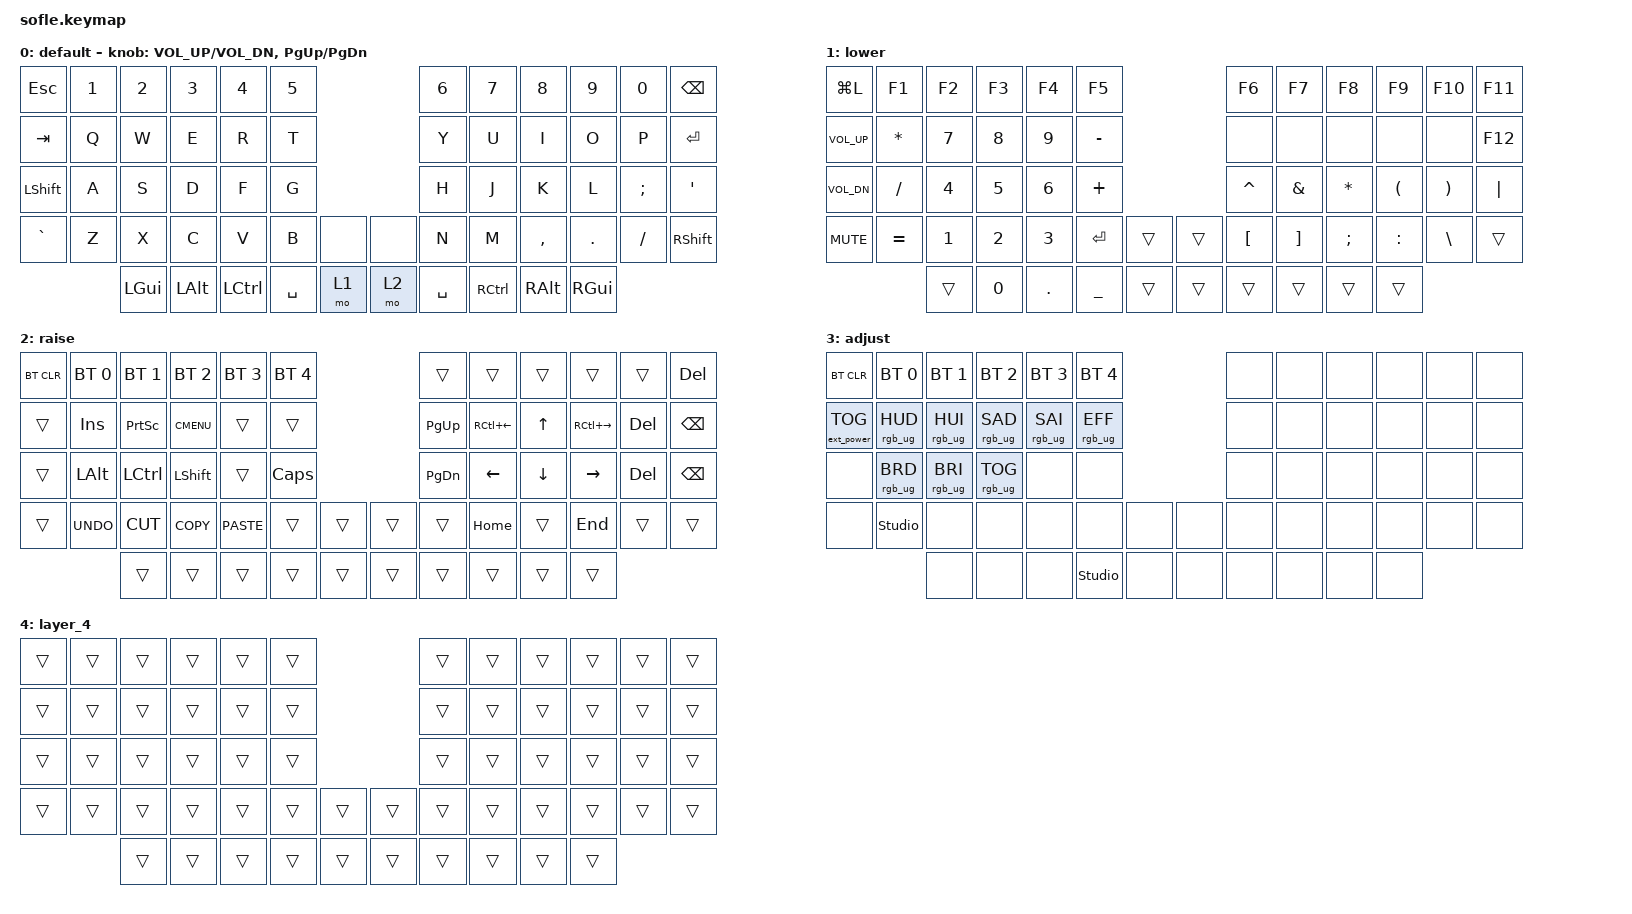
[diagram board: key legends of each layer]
/*
 * Copyright (c) 2020 The ZMK Contributors
 *
 * SPDX-License-Identifier: MIT
 */

#include <behaviors.dtsi>
#include <dt-bindings/zmk/bt.h>
#include <dt-bindings/zmk/ext_power.h>
#include <dt-bindings/zmk/keys.h>
#include <dt-bindings/zmk/rgb.h>

#define BASE 0
#define LOWER 1
#define RAISE 2
#define ADJUST 3

/ {
    // Activate ADJUST layer by pressing raise and lower

    conditional_layers {
        compatible = "zmk,conditional-layers";

        adjust_layer {
            if-layers = <LOWER RAISE>;
            then-layer = <ADJUST>;
        };
    };

    keymap {
        compatible = "zmk,keymap";

        default_layer {
            display-name = "default";

            // ------------------------------------------------------------------------------------------------------------
            // |   `   |  1  |  2  |  3   |  4   |  5   |                   |  6   |  7    |  8    |  9   |   0   |       |
            // |  ESC  |  Q  |  W  |  E   |  R   |  T   |                   |  Y   |  U    |  I    |  O   |   P   | BKSPC |
            // |  TAB  |  A  |  S  |  D   |  F   |  G   |                   |  H   |  J    |  K    |  L   |   ;   |   '   |
            // | SHIFT |  Z  |  X  |  C   |  V   |  B   |  MUTE  |  |       |  N   |  M    |  ,    |  .   |   /   | SHIFT |
            //               | GUI | ALT  | CTRL | LOWER|  ENTER |  | SPACE | RAISE| CTRL  | ALT   | GUI  |

            bindings = <
&kp ESC         &kp N1  &kp N2    &kp N3    &kp N4     &kp N5                     &kp N6     &kp N7     &kp N8     &kp N9    &kp N0    &kp BACKSPACE
&kp TAB         &kp Q   &kp W     &kp E     &kp R      &kp T                      &kp Y      &kp U      &kp I      &kp O     &kp P     &kp ENTER
&kp LEFT_SHIFT  &kp A   &kp S     &kp D     &kp F      &kp G                      &kp H      &kp J      &kp K      &kp L     &kp SEMI  &kp SQT
&kp GRAVE       &kp Z   &kp X     &kp C     &kp V      &kp B      &none    &none  &kp N      &kp M      &kp COMMA  &kp DOT   &kp FSLH  &kp RSHFT
                        &kp LGUI  &kp LALT  &kp LCTRL  &kp SPACE  &mo 1    &mo 2  &kp SPACE  &kp RCTRL  &kp RALT   &kp RGUI
            >;

            sensor-bindings = <&inc_dec_kp C_VOL_UP C_VOL_DN &inc_dec_kp PG_UP PG_DN>;
        };

        lower_layer {
            display-name = "lower";

            // TODO: Some binds are waiting for shifted keycode support.
            // ------------------------------------------------------------------------------------------------------------
            // |       |  F1 |  F2 |  F3  |  F4  |  F5  |                   |  F6  |  F7   |  F8   |  F9  |  F10  |  F11  |
            // |   `   |  1  |  2  |  3   |  4   |  5   |                   |  6   |  7    |  8    |  9   |   0   |  F12  |
            // |       |  !  |  @  |  #   |  $   |  %   |                   |  ^   |  &    |  *    |  (   |   )   |   |   |
            // |       |  =  |  -  |  +   |  {   |  }   |        |  |       |  [   |  ]    |  ;    |  :   |   \   |       |
            //               |     |      |      |      |        |  |       |      |       |       |      |

            bindings = <
&kp LG(L)        &kp F1     &kp F2        &kp F3        &kp F4        &kp F5                       &kp F6     &kp F7    &kp F8     &kp F9     &kp F10   &kp F11
&kp C_VOLUME_UP  &kp STAR   &kp N7        &kp N8        &kp N9        &kp MINUS                    &none      &none     &none      &none      &none     &kp F12
&kp C_VOL_DN     &kp SLASH  &kp NUMBER_4  &kp N5        &kp NUMBER_6  &kp PLUS                     &kp CARET  &kp AMPS  &kp ASTRK  &kp LPAR   &kp RPAR  &kp PIPE
&kp K_MUTE       &kp EQUAL  &kp NUMBER_1  &kp NUMBER_2  &kp NUMBER_3  &kp ENTER  &trans    &trans  &kp LBKT   &kp RBKT  &kp SEMI   &kp COLON  &kp BSLH  &trans
                            &trans        &kp N0        &kp PERIOD    &kp UNDER  &trans    &trans  &trans     &trans    &trans     &trans
            >;
        };

        raise_layer {
            display-name = "raise";

            // ------------------------------------------------------------------------------------------------------------
            // | BTCLR | BT1  | BT2  |  BT3  |  BT4  |  BT5 |                |      |      |       |      |       |       |
            // |       | INS  | PSCR | GUI   |       |      |                | PGUP |      |   ^   |      |       |       |
            // |       | ALT  | CTRL | SHIFT |       | CAPS |                | PGDN |   <- |   v   |  ->  |  DEL  | BKSPC |
            // |       | UNDO | CUT  | COPY  | PASTE |      |      |  |      |      |      |       |      |       |       |
            //                |      |       |       |      |      |  |      |      |      |       |      |

            bindings = <
&bt BT_CLR  &bt BT_SEL 0  &bt BT_SEL 1  &bt BT_SEL 2  &bt BT_SEL 3  &bt BT_SEL 4                    &trans     &trans              &trans    &trans         &trans      &kp DELETE
&trans      &kp INS       &kp PSCRN     &kp K_CMENU   &trans        &trans                          &kp PG_UP  &kp RC(LEFT_ARROW)  &kp UP    &kp RC(RIGHT)  &kp DELETE  &kp BACKSPACE
&trans      &kp LALT      &kp LCTRL     &kp LSHFT     &trans        &kp CLCK                        &kp PG_DN  &kp LEFT            &kp DOWN  &kp RIGHT      &kp DEL     &kp BSPC
&trans      &kp K_UNDO    &kp K_CUT     &kp K_COPY    &kp K_PASTE   &trans        &trans    &trans  &trans     &kp HOME            &trans    &kp END        &trans      &trans
                          &trans        &trans        &trans        &trans        &trans    &trans  &trans     &trans              &trans    &trans
            >;
        };

        adjust_layer {
            // ----------------------------------------------------------------------------------------------------------------------------
            // | BTCLR  |  BT1    |  BT2    |   BT3   |   BT4   |   BT5   |                  |      |      |       |      |       |       |
            // | EXTPWR | RGB_HUD | RGB_HUI | RGB_SAD | RGB_SAI | RGB_EFF |                  |      |      |       |      |       |       |
            // |        | RGB_BRD | RGB_BRI | RGB_TOG |         |         |                  |      |      |       |      |       |       |
            // |    |studio_unlock|         |         |         |         |         | |      |      |      |       |      |       |       |
            //                    |         |         |         |         |         | |      |      |      |       |      |

            display-name = "adjust";
            bindings = <
&bt BT_CLR         &bt BT_SEL 0     &bt BT_SEL 1     &bt BT_SEL 2     &bt BT_SEL 3     &bt BT_SEL 4                     &none  &none  &none  &none  &none  &none
&ext_power EP_TOG  &rgb_ug RGB_HUD  &rgb_ug RGB_HUI  &rgb_ug RGB_SAD  &rgb_ug RGB_SAI  &rgb_ug RGB_EFF                  &none  &none  &none  &none  &none  &none
&none              &rgb_ug RGB_BRD  &rgb_ug RGB_BRI  &rgb_ug RGB_TOG  &none            &none                            &none  &none  &none  &none  &none  &none
&none              &studio_unlock   &none            &none            &none            &none            &none    &none  &none  &none  &none  &none  &none  &none
                                    &none            &none            &none            &studio_unlock   &none    &none  &none  &none  &none  &none
            >;
        };

        layer_4 {
            bindings = <
&trans  &trans  &trans  &trans  &trans  &trans                    &trans  &trans  &trans  &trans  &trans  &trans
&trans  &trans  &trans  &trans  &trans  &trans                    &trans  &trans  &trans  &trans  &trans  &trans
&trans  &trans  &trans  &trans  &trans  &trans                    &trans  &trans  &trans  &trans  &trans  &trans
&trans  &trans  &trans  &trans  &trans  &trans  &trans    &trans  &trans  &trans  &trans  &trans  &trans  &trans
                &trans  &trans  &trans  &trans  &trans    &trans  &trans  &trans  &trans  &trans
            >;
        };
    };
};
